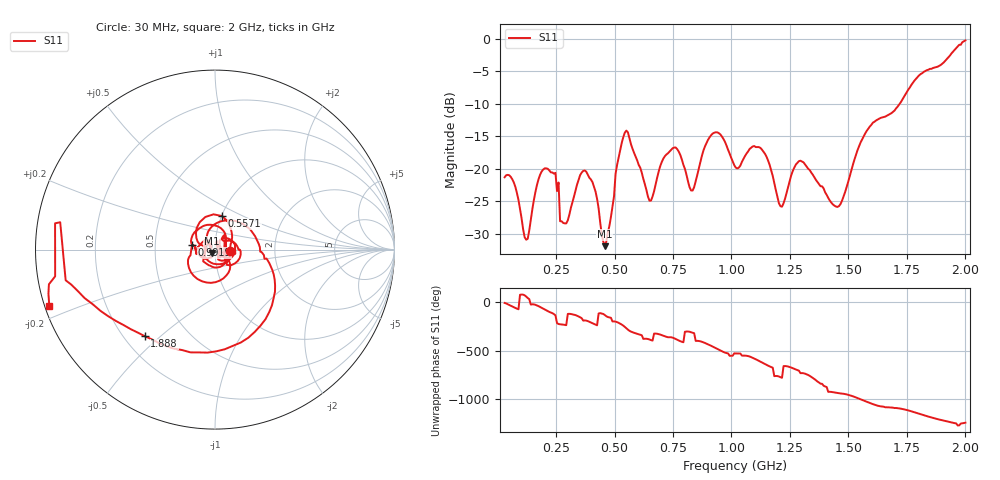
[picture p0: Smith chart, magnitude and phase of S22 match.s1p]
# Hz S DB R 50.000000
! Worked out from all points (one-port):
!   300 points, 30 MHz to 2 GHz, reference 50 ohm
!   lowest |S11| = -31.9 dB at 458.3 MHz (marker M1), VSWR 1.05, Z = 48.3 - j1.84 ohm
!   |S11| at or under -10 dB: start of sweep to 1.719 GHz
!   S11 on the Smith chart (normalised r, x): 30 MHz: 1.19, -0.02; 557.1 MHz: 1.01, +0.39; 991.9 MHz: 0.77, +0.04; 1.888 GHz: 0.28, -0.45; 2 GHz: 0.01, -0.16
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3e7  -21.32 -6.5
6.953177e7  -22.13 -51.2
1.222408e8  -30.94 59.1
2.013043e8  -19.94 -73.7
2.474247e8  -20.63 -135.0
2.803679e8  -28.36 129.9
3.726087e8  -20.27 173.1
4.582609e8  -31.94 -131.1
5.241472e8  -17.11 139.5
5.570903e8  -14.38 77.9
6.493311e8  -24.92 -23.6
7.745151e8  -17.36 -34.1
8.272241e8  -23.35 51.6
9.194649e8  -14.58 -96.8
9.919398e8  -17.65 168.2
1.018294e9  -19.83 -167.9
1.123712e9  -16.79 107.7
1.215953e9  -25.85 -58.8
1.262074e9  -20.34 39.9
1.453144e9  -25.89 143.8
1.512441e9  -20.26 116.1
1.584916e9  -13.82 48.0
1.756221e9  -7.79 -35.0
1.822107e9  -5.07 -84.5
1.887993e9  -4.14 -129.0
1.960468e9  -1.42 -168.4
1.967057e9  -1.15 170.0
2e9  -0.22 -161.3
